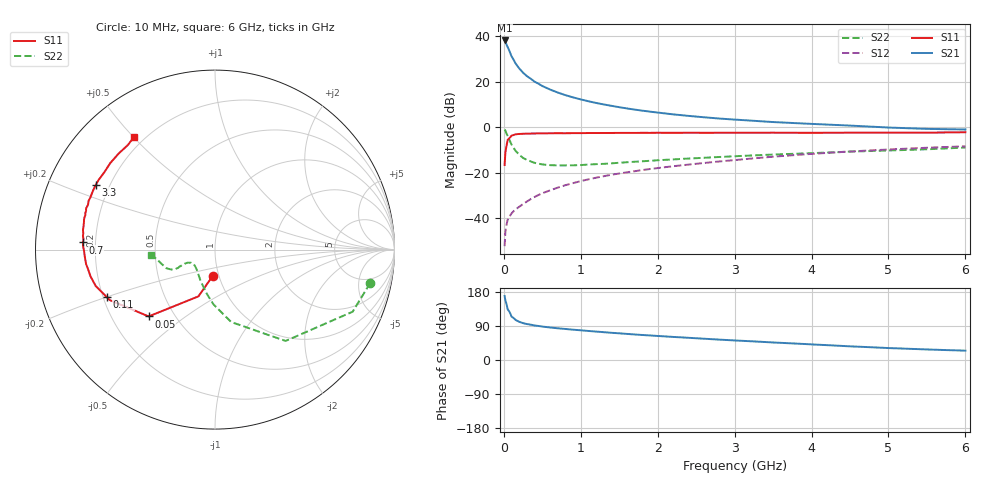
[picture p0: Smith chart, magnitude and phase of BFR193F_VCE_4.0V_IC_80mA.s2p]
! Infineon Technologies  Discrete & RF Semiconductors
! BFR193F
! VCE =  4.0 V,  IC =  80 mA
! Common Emitter S-Parameters:  Jan 2017
# GHz  S  MA  R  50
!  f  S11  S21  S12  S22
! GHz  MAG  ANG  MAG  ANG  MAG  ANG  MAG  ANG
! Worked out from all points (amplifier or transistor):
!   77 points, 10 MHz to 6 GHz, reference 50 ohm
!   highest |S21| = 38.2 dB at 10 MHz (marker M1)
!   |S21| within 3 dB of that: start of sweep to 51.01 MHz
!   unconditionally stable (mu >= 1): 562.9 MHz to 2.611 GHz
!   at 130 MHz: K = 0.62, MSG = 33.2 dB, |S12| = -36.9 dB
!   at 2.2 GHz: K = 1.02, MAG = 10.5 dB, |S12| = -17.2 dB
!   at 6 GHz: K = 0.87, MSG = 3.7 dB, |S12| = -8.4 dB
!   S11 on the Smith chart (normalised r, x): 10 MHz: 0.93, -0.28; 50 MHz: 0.36, -0.37; 110 MHz: 0.21, -0.20; 700 MHz: 0.15, +0.03; 3.3 GHz: 0.15, +0.25; 6 GHz: 0.16, +0.50
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0.01  0.1469 -94.9  81.16 168.7  0.0024 81.6  0.8845 -12.2
0.02  0.2763 -109.5  76.79 157.4  0.005 68.9  0.8414 -24.3
0.05  0.5247 -134.8  57.95 133.7  0.0092 59.0  0.6432 -52.3
0.1  0.6505 -154.4  36.36 114.5  0.0126 52.9  0.4136 -77.4
0.11  0.6581 -156.2  34.17 113.2  0.0132 53.3  0.3902 -79.6
0.15  0.6947 -163.0  25.66 106.0  0.0154 54.5  0.3046 -91.7
0.2  0.7092 -167.8  19.63 100.8  0.0177 58.3  0.2479 -101.0
0.25  0.7157 -171.3  15.85 97.3  0.0203 62.1  0.2103 -109.1
0.3  0.7226 -173.5  13.29 94.9  0.0231 64.1  0.1902 -115.3
0.4  0.7266 -176.9  10.04 91.0  0.0291 68.1  0.1636 -125.1
0.5  0.7296 -179.4  8.07 88.3  0.0351 70.6  0.1514 -131.9
0.6  0.7347 178.8  6.752 85.8  0.0406 72.7  0.146 -137.6
0.7  0.7367 176.9  5.797 83.7  0.0466 73.6  0.1441 -141.2
0.9  0.7399 174.0  4.527 80.0  0.0587 75.0  0.1447 -147.1
1.1  0.7436 171.6  3.72 76.6  0.0711 75.7  0.1506 -149.9
1.5  0.7484 167.2  2.757 70.4  0.0955 75.9  0.1646 -153.7
2.1  0.7522 161.5  2.006 62.2  0.1318 75.2  0.1911 -155.0
3.1  0.755 153.0  1.434 50.6  0.1955 72.7  0.2331 -153.7
3.3  0.7552 151.3  1.364 48.5  0.2096 71.9  0.2414 -153.8
4.1  0.7529 144.1  1.161 40.2  0.2646 68.0  0.272 -156.2
5.1  0.7576 134.0  0.969 30.8  0.3286 61.8  0.3104 -165.8
6  0.7736 125.5  0.889 24.6  0.3794 56.1  0.3563 -175.6
